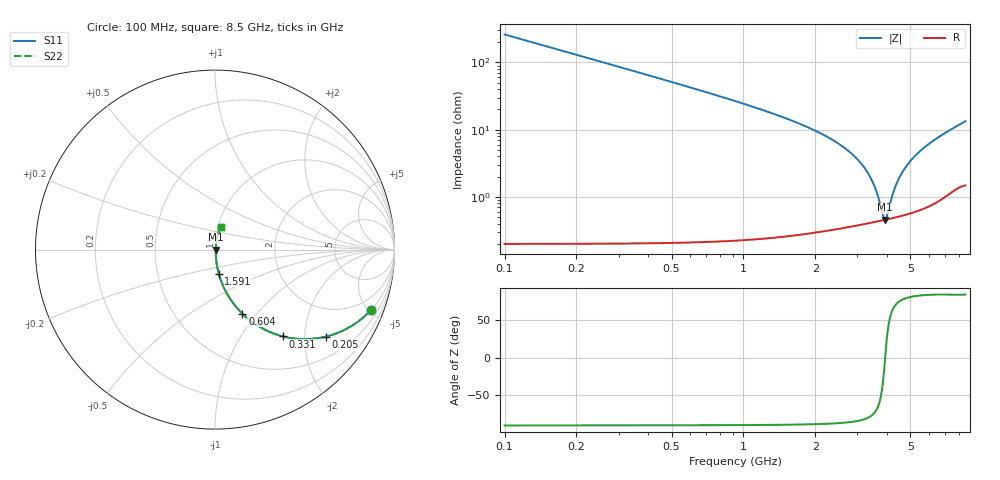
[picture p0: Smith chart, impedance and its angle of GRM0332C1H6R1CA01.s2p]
!Murata Part Number: GRM0332C1H6R1CA01
!These Parameters are Measured in Series Mode Connection
!Data Generated on Mar 30, 2021
!  o--ll--o
!Port1  Port2
!  o------o
!Operation Temp=25[degC], DC Bias Voltage=0[V]
!Freq. Start=100[MHz] Stop=9[GHz] 401[Steps]
# Hz S RI R 50
!Freq.(Hz) S11(Real) S11(Imag) S21(Real) S21(Imag) S12(Real) S12(Imag) S22(Real) S22(Imag)
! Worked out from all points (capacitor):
!   401 points, 100 MHz to 8.5 GHz, reference 50 ohm
!   read as one part in series: C = 6.1 pF near 142 MHz
!   lowest |Z| = 457 mohm at 3.922 GHz (marker M1)
!   series resonance near 3.921 GHz, so ESL is about 270 pH
!   S11 on the Smith chart (normalised r, x): 100 MHz: 1.00, -5.21; 205 MHz: 1.00, -2.54; 331 MHz: 1.00, -1.57; 604 MHz: 1.00, -0.84; 1.591 GHz: 1.01, -0.27; 8.5 GHz: 1.03, +0.27
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1e8  0.8716 -0.3342  0.1284 0.3342  0.1284 0.3342  0.8716 -0.3342
2.05e8  0.6168 -0.4854  0.3832 0.4854  0.3832 0.4854  0.6168 -0.4854
3.31e8  0.3801 -0.4841  0.6199 0.4841  0.6199 0.4841  0.3801 -0.4841
4.57e8  0.2416 -0.4262  0.7584 0.4262  0.7584 0.4262  0.2416 -0.4262
6.04e8  0.1522 -0.3567  0.8478 0.3567  0.8478 0.3567  0.1522 -0.3567
9.4e8  0.0659 -0.2438  0.9341 0.2438  0.9341 0.2438  0.0659 -0.2438
1.507e9  0.0237 -0.1437  0.9763 0.1437  0.9763 0.1437  0.0237 -0.1437
1.591e9  0.0209 -0.1338  0.9791 0.1338  0.9791 0.1338  0.0209 -0.1338
2.914e9  0.00528 -0.0399  0.9947 0.0399  0.9947 0.0399  0.00528 -0.0399
3.229e9  0.00463 -0.026  0.9954 0.026  0.9954 0.026  0.00463 -0.026
3.46e9  0.00443 -0.0167  0.9956 0.0167  0.9956 0.0167  0.00443 -0.0167
3.628e9  0.0044 -0.0104  0.9956 0.0104  0.9956 0.0104  0.0044 -0.0104
3.859e9  0.0045 -0.00213  0.9955 0.00213  0.9955 0.00213  0.0045 -0.00213
3.922e9  0.00455 2.98e-05  0.9954 -2.98e-05  0.9954 -2.98e-05  0.00455 2.98e-05
3.985e9  0.00462 0.00216  0.9954 -0.00216  0.9954 -0.00216  0.00462 0.00216
4.174e9  0.00486 0.00838  0.9951 -0.00838  0.9951 -0.00838  0.00486 0.00838
4.3e9  0.00506 0.0124  0.9949 -0.0124  0.9949 -0.0124  0.00506 0.0124
4.531e9  0.00552 0.0195  0.9945 -0.0195  0.9945 -0.0195  0.00552 0.0195
4.846e9  0.00632 0.0289  0.9937 -0.0289  0.9937 -0.0289  0.00632 0.0289
5.707e9  0.00949 0.0528  0.9905 -0.0528  0.9905 -0.0528  0.00949 0.0528
7.114e9  0.0185 0.0897  0.9815 -0.0897  0.9815 -0.0897  0.0185 0.0897
8.5e9  0.0313 0.1272  0.9687 -0.1272  0.9687 -0.1272  0.0313 0.1272
